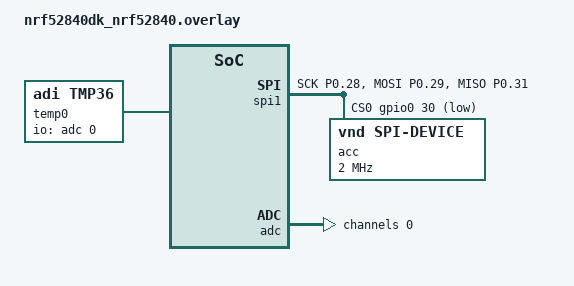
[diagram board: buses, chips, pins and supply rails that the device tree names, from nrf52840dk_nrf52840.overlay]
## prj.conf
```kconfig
CONFIG_LOG=y
CONFIG_CBPRINTF_FP_SUPPORT=y
CONFIG_SPI=y
CONFIG_GPIO=y
CONFIG_ADC=y
```

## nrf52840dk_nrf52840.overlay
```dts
&i2c0 { status = "disabled";};
&spi0 { status = "disabled";};
&i2c1 { status = "disabled";};

&spi1 {
    compatible = "nordic,nrf-spim";
    status = "okay";
    pinctrl-0 = <&spi1_default>;
    pinctrl-1 = <&spi1_sleep>;
    pinctrl-names = "default", "sleep";
    cs-gpios = <&gpio0 30 GPIO_ACTIVE_LOW>;
    acc: adxl345@0 {
        compatible = "vnd,spi-device";
        reg = <0>;
        spi-max-frequency = <2000000>;
        spi-cpol;
        spi-cpha;
    };
};

&pinctrl {
    spi1_default: spi1_default {
        group1 {
            psels = <NRF_PSEL(SPIM_SCK, 0, 28)>,
                    <NRF_PSEL(SPIM_MOSI, 0, 29)>,
                    <NRF_PSEL(SPIM_MISO, 0, 31)>;
        };
    };
    spi1_sleep: spi1_sleep {
        group1 {
            psels = <NRF_PSEL(SPIM_SCK, 0, 28)>,
                    <NRF_PSEL(SPIM_MOSI, 0, 29)>,
                    <NRF_PSEL(SPIM_MISO, 0, 31)>;
            low-power-enable;
        };
    };
  };
  
  &adc {
  #address-cells = <1>;
  #size-cells = <0>;
  status = "okay";
  channel@0 {
    reg = <0>;
    zephyr,gain = "ADC_GAIN_1_2";
    zephyr,reference = "ADC_REF_INTERNAL";
    zephyr,acquisition-time = <ADC_ACQ_TIME_DEFAULT>;
    zephyr,input-positive = <NRF_SAADC_AIN1>;
    zephyr,resolution = <12>;
  };
};

/{
  temp0: temp0 {
    compatible = "adi,tmp36";
    io-channels = <&adc 0>;
  };
};
```

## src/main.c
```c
/******************************************************
 * Tap Temperature Logger
 * 
 * LED flashes until a tap interrupts,
 * then tmp36 records the temperature every 500ms and logs the average
 * LED goes back to flashing
 ******************************************************/

#include <zephyr/kernel.h>
#include <zephyr/logging/log.h>
#include <zephyr/drivers/spi.h>
#include <zephyr/drivers/gpio.h>
#include <zephyr/drivers/adc.h>
#include <zephyr/device.h>
#include <zephyr/devicetree.h>

LOG_MODULE_REGISTER(YT_11_1, LOG_LEVEL_INF);

#define BLINK_PERIOD_MS 1000
#define SAMPLE_INTERVAL_MS 500
#define MAX_SAMPLES 20
#define NUM_ADC_READINGS 10

#define SINGLE_TAP (1 << 6)

#define SPIOP (SPI_WORD_SET(8) | SPI_TRANSFER_MSB | SPI_MODE_CPOL | SPI_MODE_CPHA)
struct spi_dt_spec acc = SPI_DT_SPEC_GET(DT_NODELABEL(acc), SPIOP, 0);

#define INT2_PIN 4
const struct device *gpio0 = DEVICE_DT_GET(DT_NODELABEL(gpio0));

#define LED0_NODE DT_ALIAS(led0)
static const struct gpio_dt_spec led = GPIO_DT_SPEC_GET(LED0_NODE, gpios);

#define TMP36_NODE DT_NODELABEL(temp0)
const struct adc_dt_spec tmp36 = ADC_DT_SPEC_GET(TMP36_NODE);

#define MV_AT_25C DT_PROP(TMP36_NODE, vtemp25)
#define MV_PER_DEG_C DT_PROP(TMP36_NODE, sensor_slope)

static uint16_t adc_buf[NUM_ADC_READINGS];
static float temp_buffer[MAX_SAMPLES];
static int sample_count;

static struct adc_sequence_options adc_options = {
    .extra_samplings = NUM_ADC_READINGS - 1,
    .interval_us = 100,
};

static struct adc_sequence adc_seq = {
    .options = &adc_options,
    .buffer = adc_buf,
    .buffer_size = sizeof(adc_buf),
};

static struct k_timer temp_timer;
static struct k_work adc_work;

static bool collecting_temp = false;

static int adxl_write(uint8_t reg, uint8_t val) {
    uint8_t tx[2] = { reg, val };
    struct spi_buf buf = { .buf = tx, .len = 2 };
    struct spi_buf_set tx_set = { .buffers = &buf, .count = 1 };
    return spi_write_dt(&acc, &tx_set);
}

static int adxl_read(uint8_t reg, uint8_t *val) {
    uint8_t tx[2] = { reg | 0x80, 0x00 };
    uint8_t rx[2];
    struct spi_buf txb = { tx, 2 };
    struct spi_buf rxb = { rx, 2 };
    struct spi_buf_set txs = { &txb, 1 };
    struct spi_buf_set rxs = { &rxb, 1 };

    int ret = spi_transceive_dt(&acc, &txs, &rxs);
    *val = rx[1];
    return ret;
}

void adc_work_handler(struct k_work *work) {
    int err, val_mV;
    float avg_mV = 0;
    err = adc_read_dt(&tmp36, &adc_seq);
    if(err) {
        LOG_ERR("ADC read failed");
        return;
    }
    for(int i = 0; i < NUM_ADC_READINGS; i++) {
        val_mV = adc_buf[i];
        adc_raw_to_millivolts_dt(&tmp36, &val_mV);
        avg_mV += val_mV;
    }
    avg_mV /= NUM_ADC_READINGS;
    temp_buffer[sample_count++] =
        25.0f + (avg_mV - MV_AT_25C) / MV_PER_DEG_C;
    if(sample_count == MAX_SAMPLES) {
        k_timer_stop(&temp_timer);
        float sum = 0;
        for(int i = 0; i < MAX_SAMPLES; i++) {
            sum += temp_buffer[i];
        }
        LOG_INF("Average temperature: %.1f C", sum / MAX_SAMPLES);
        sample_count = 0;
        collecting_temp = false;

    }
}

void temp_timer_handler(struct k_timer *timer) {
    k_work_submit(&adc_work);
}

int main(void) {
    LOG_INF("Program started");
    gpio_pin_configure_dt(&led, GPIO_OUTPUT_INACTIVE);
    gpio_pin_configure(gpio0, INT2_PIN, GPIO_INPUT | GPIO_PULL_DOWN);
    
    if(!adc_is_ready_dt(&tmp36)) {
        LOG_ERR("ADC not ready");
        return -1;
    }
    
    adc_channel_setup_dt(&tmp36);
    adc_sequence_init_dt(&tmp36, &adc_seq);
    k_work_init(&adc_work, adc_work_handler);
    k_timer_init(&temp_timer, temp_timer_handler, NULL);

    adxl_write(0x1D, 0x30);
    adxl_write(0x21, 0x30);
    adxl_write(0x22, 0x10);
    adxl_write(0x23, 0x20);
    adxl_write(0x2A, 0xFF);
    adxl_write(0x2E, 0x40); 
    adxl_write(0x2F, 0x40); 
    adxl_write(0x2D, 0x08);

    int64_t last_blink = 0;
    bool led_on = false;

    while(true) {
        if(!collecting_temp) {
            int64_t now = k_uptime_get();
            if(now - last_blink >= BLINK_PERIOD_MS / 2) {
                led_on = !led_on;
                gpio_pin_set_dt(&led, led_on);
                last_blink = now;
            }
            if(gpio_pin_get(gpio0, INT2_PIN)) {
                uint8_t src;
                adxl_read(0x30, &src);
                if(src & SINGLE_TAP && !collecting_temp) {
                    LOG_INF("Single tap detected");
                    gpio_pin_set_dt(&led, 1);
                    collecting_temp = true;
                    k_timer_start(&temp_timer, K_NO_WAIT, K_MSEC(SAMPLE_INTERVAL_MS));
                }
            }
        }
        k_msleep(10);
    }
}
```
